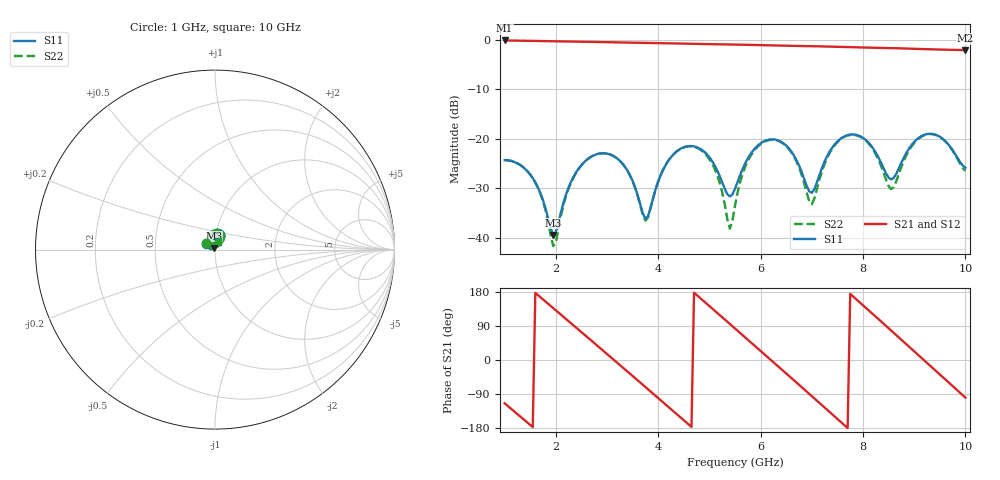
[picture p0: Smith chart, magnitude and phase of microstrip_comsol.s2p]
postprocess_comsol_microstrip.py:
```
"""Postprocess solved COMSOL sweeps and compare their full complex S matrix."""

from __future__ import annotations

import csv
import json
import math
from pathlib import Path

import mph
import numpy as np


RESULTS = Path(
    "/home/solarstatiion/COMSOL_Multiphysics_MCP/models/"
    "microstrip_comsol_181pt_20260802_235956"
)
HFSS_CSV = Path(
    "/home/solarstatiion/aedt-mcp/projects/"
    "microstrip_50ohm_fr4_20260802_162355/"
    "microstrip_50ohm_full_s_matrix.csv"
)


def flat(value) -> np.ndarray:
    return np.asarray(value).reshape(-1)


def db(value: complex) -> float:
    return 20.0 * math.log10(max(abs(value), 1e-15))


def phase(value: complex) -> float:
    return math.degrees(math.atan2(value.imag, value.real))


def phase_delta(new: complex, old: complex) -> float:
    return (phase(new) - phase(old) + 180.0) % 360.0 - 180.0


def load_hfss() -> list[dict[str, float]]:
    with HFSS_CSV.open(newline="") as stream:
        return [
            {key: float(value) for key, value in row.items()}
            for row in csv.DictReader(stream)
        ]


client = mph.start(cores=4)
port1_model = client.load(RESULTS / "microstrip_comsol_port1.mph")
frequencies = flat(port1_model.evaluate("freq"))
comsol = {
    "s11": flat(port1_model.evaluate("emw.S11")),
    "s21": flat(port1_model.evaluate("emw.S21")),
}
port1_model.clear()
port1_model.save(RESULTS / "microstrip_comsol_compact.mph")
client.remove(port1_model)

port2_model = client.load(RESULTS / "microstrip_comsol_port2.mph")
comsol.update(
    {
        "s12": flat(port2_model.evaluate("emw.S12")),
        "s22": flat(port2_model.evaluate("emw.S22")),
    }
)
client.remove(port2_model)

hfss = load_hfss()
rows = []
for index, frequency in enumerate(frequencies):
    old_row = min(hfss, key=lambda row: abs(row["frequency_hz"] - frequency))
    row = {"frequency_hz": float(frequency)}
    for name in ("s11", "s21", "s12", "s22"):
        old = complex(old_row[f"{name}_real"], old_row[f"{name}_imag"])
        new = complex(comsol[name][index])
        row.update(
            {
                f"hfss_{name}_db": db(old),
                f"comsol_{name}_db": db(new),
                f"delta_{name}_db": db(new) - db(old),
                f"hfss_{name}_phase_deg": phase(old),
                f"comsol_{name}_phase_deg": phase(new),
                f"delta_{name}_phase_deg": phase_delta(new, old),
                f"delta_{name}_complex": abs(new - old),
            }
        )
    rows.append(row)

csv_path = RESULTS / "hfss_comsol_detailed_comparison.csv"
with csv_path.open("w", newline="") as stream:
    writer = csv.DictWriter(stream, fieldnames=list(rows[0]))
    writer.writeheader()
    writer.writerows(rows)

metrics = {}
for name in ("s11", "s21", "s12", "s22"):
    db_values = [row[f"delta_{name}_db"] for row in rows]
    phase_values = [row[f"delta_{name}_phase_deg"] for row in rows]
    complex_values = [row[f"delta_{name}_complex"] for row in rows]
    metrics[name] = {
        "max_abs_db_delta": max(abs(value) for value in db_values),
        "rms_db_delta": math.sqrt(sum(value * value for value in db_values) / len(rows)),
        "max_abs_phase_delta_deg": max(abs(value) for value in phase_values),
        "rms_phase_delta_deg": math.sqrt(
            sum(value * value for value in phase_values) / len(rows)
        ),
        "max_complex_delta": max(complex_values),
    }

samples = {}
for target in (1.0, 2.4, 5.0, 10.0):
    samples[f"{target:g}GHz"] = min(
        rows, key=lambda row: abs(row["frequency_hz"] - target * 1e9)
    )

touchstone_path = RESULTS / "microstrip_comsol.s2p"
with touchstone_path.open("w") as stream:
    stream.write("! COMSOL 6.4 full two-direction lumped-port sweep\n")
    stream.write("# Hz S RI R 50\n")
    for index, frequency in enumerate(frequencies):
        values = [
            comsol["s11"][index],
            comsol["s21"][index],
            comsol["s12"][index],
            comsol["s22"][index],
        ]
        fields = [f"{frequency:.12g}"]
        for value in values:
            fields.extend([f"{value.real:.15g}", f"{value.imag:.15g}"])
        stream.write(" ".join(fields) + "\n")

summary = {
    "success": True,
    "points": len(rows),
    "frequency_range_ghz": [
        float(frequencies[0] / 1e9),
        float(frequencies[-1] / 1e9),
    ],
    "metrics": metrics,
    "samples": samples,
    "detailed_csv": str(csv_path),
    "touchstone": str(touchstone_path),
    "compact_model": str(RESULTS / "microstrip_comsol_compact.mph"),
}
(RESULTS / "comparison_detailed.json").write_text(json.dumps(summary, indent=2))

report = [
    "# COMSOL–HFSS Microstrip Comparison",
    "",
    "The same nominal 50-ohm FR-4 microstrip geometry was solved in COMSOL 6.4 "
    "and HFSS 2025 R1 at 181 frequencies from 1 to 10 GHz.",
    "",
    "## Important formulation differences",
    "",
    "- COMSOL uses zero-thickness PEC trace and ground surfaces; HFSS used "
    "35 µm finite-conductivity copper solids.",
    "- COMSOL uses second-order scattering boundaries; HFSS used a Radiation boundary.",
    "- COMSOL uses εr=4.4 and tanδ=0.02; HFSS used its `FR4_epoxy` library material.",
    "- COMSOL directly solved all frequencies; HFSS used an interpolating sweep.",
    "",
    "## Full-sweep differences",
    "",
    "| Parameter | Max |ΔdB| | RMS ΔdB | Max |Δphase| | RMS Δphase | Max complex Δ |",
    "|---|---:|---:|---:|---:|---:|",
]
for name, values in metrics.items():
    report.append(
        f"| {name.upper()} | {values['max_abs_db_delta']:.6f} | "
        f"{values['rms_db_delta']:.6f} | "
        f"{values['max_abs_phase_delta_deg']:.6f}° | "
        f"{values['rms_phase_delta_deg']:.6f}° | "
        f"{values['max_complex_delta']:.6f} |"
    )

report.extend(
    [
        "",
        "## Selected-frequency magnitude comparison",
        "",
        "| Frequency | Parameter | HFSS | COMSOL | Δ |",
        "|---:|---|---:|---:|---:|",
    ]
)
for frequency, row in samples.items():
    for name in ("s11", "s21", "s12", "s22"):
        report.append(
            f"| {frequency} | {name.upper()} | {row[f'hfss_{name}_db']:.6f} dB | "
            f"{row[f'comsol_{name}_db']:.6f} dB | "
            f"{row[f'delta_{name}_db']:+.6f} dB |"
        )

report.extend(
    [
        "",
        "## Interpretation",
        "",
        "Transmission magnitudes agree closely: the worst S21/S12 magnitude "
        "difference is under 0.062 dB. Reflection differs more because S11/S22 "
        "are highly sensitive to the conductor, port, mesh, and absorbing-boundary "
        "formulations. Complex-wave differences also include phase accumulated "
        "over the 50 mm line.",
        "",
    ]
)
(RESULTS / "comparison.md").write_text("\n".join(report))
print(json.dumps(summary, indent=2))
```
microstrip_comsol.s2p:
! COMSOL 6.4 full two-direction lumped-port sweep
# Hz S RI R 50
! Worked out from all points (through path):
!   181 points, 1 GHz to 10 GHz, reference 50 ohm
!   highest |S21| = -0.14 dB at 1 GHz (marker M1); lowest = -2.1 dB at 10 GHz (marker M2)
!   group delay of S21, straight-line fit = 329 ps
!   lowest |S11| = -39.5 dB at 1.95 GHz (marker M3), VSWR 1.02, Z = 49.4 + j0.893 ohm
!   |S11| at or under -10 dB: start of sweep to end of sweep
!   |S22| runs from -41.7 to -19.1 dB; largest |S21 - S12| = 1.5e-05
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1e9  -0.0506 0.0334  -0.4019 -0.8978  -0.4019 -0.8978  -0.0498 0.0351
1.95e9  -0.00562 0.00903  -0.7061 0.6597  -0.7061 0.6597  -0.0037 0.00732
3.05e9  -0.0134 0.0683  0.928 0.1654  0.928 0.1654  -0.0118 0.0685
3.9e9  -0.0202 0.0148  0.0199 -0.9267  0.0199 -0.9267  -0.0199 0.0151
4.7e9  -0.00409 0.0835  -0.9079 0.0377  -0.9079 0.0377  0.0052 0.0826
5.5e9  -0.0142 0.0277  0.1053 0.8879  0.1053 0.8879  -0.0155 0.0142
6.85e9  0.0226 0.0323  0.1903 -0.8432  0.1903 -0.8432  0.023 0.0272
7.65e9  -0.00572 0.1062  -0.8363 -0.0955  -0.8363 -0.0955  -0.0115 0.1046
8.45e9  0.0238 0.0377  0.00071 0.8256  0.000713 0.8256  0.0226 0.0312
9.2e9  0.0111 0.109  0.8035 -0.021  0.8035 -0.021  0.00154 0.1085
1e10  0.0183 0.0474  -0.1264 -0.7749  -0.1265 -0.7749  0.0162 0.0444
